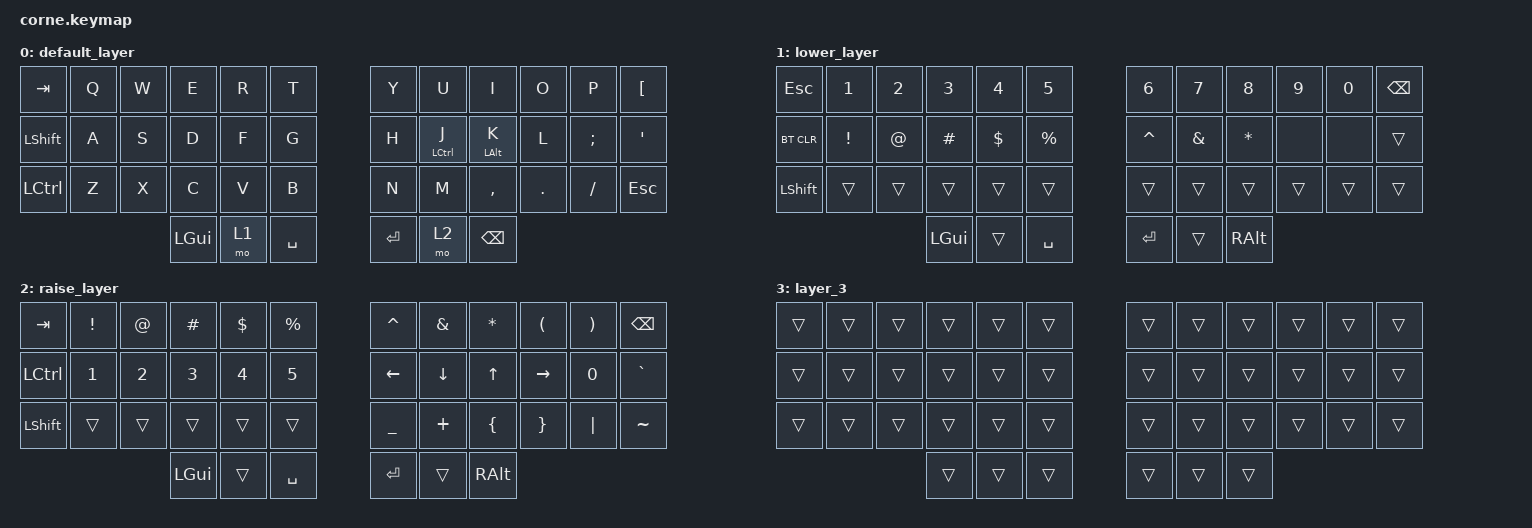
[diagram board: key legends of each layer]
/*
 * Copyright (c) 2020 The ZMK Contributors
 *
 * SPDX-License-Identifier: MIT
 */

#include <behaviors.dtsi>
#include <dt-bindings/zmk/bt.h>
#include <dt-bindings/zmk/keys.h>

/ {
    behaviors {
        hold_and_tap_kp: hold_and_tap_kp {
            compatible = "zmk,behavior-hold-tap";
            label = "HOLD_AND_TAP_KP";
            bindings = <&kp>, <&kp>;

            #binding-cells = <2>;
            tapping-term-ms = <120>;
            flavor = "tap-preferred";
        };
    };

    keymap {
        compatible = "zmk,keymap";

        default_layer {
            // -----------------------------------------------------------------------------------------
            // |  TAB |  Q  |  W  |  E  |  R  |  T  |   |  Y  |  U   |  I  |  O  |  P  | BSPC |
            // | CTRL |  A  |  S  |  D  |  F  |  G  |   |  H  |  J   |  K  |  L  |  ;  |  '   |
            // | SHFT |  Z  |  X  |  C  |  V  |  B  |   |  N  |  M   |  ,  |  .  |  /  | ESC  |
            //                    | GUI | LWR | SPC |   | ENT | RSE  | ALT |

            bindings = <
&kp TAB           &kp Q  &kp W  &kp E     &kp R  &kp T        &kp Y    &kp U                            &kp I                        &kp O    &kp P     &kp LEFT_BRACKET
&kp LEFT_SHIFT    &kp A  &kp S  &kp D     &kp F  &kp G        &kp H    &hold_and_tap_kp LEFT_CONTROL J  &hold_and_tap_kp LEFT_ALT K  &kp L    &kp SEMI  &kp SQT
&kp LEFT_CONTROL  &kp Z  &kp X  &kp C     &kp V  &kp B        &kp N    &kp M                            &kp COMMA                    &kp DOT  &kp FSLH  &kp ESC
                                &kp LGUI  &mo 1  &kp SPACE    &kp RET  &mo 2                            &kp BACKSPACE
            >;
        };

        lower_layer {
            // -----------------------------------------------------------------------------------------
            // |  TAB |  1  |  2  |  3  |  4  |  5  |   |  6  |  7  |  8  |  9  |  0  | BSPC |
            // | BTCLR| BT1 | BT2 | BT3 | BT4 | BT5 |   | LFT | DWN |  UP | RGT |     |      |
            // | SHFT |     |     |     |     |     |   |     |     |     |     |     |      |
            //                    | GUI |     | SPC |   | ENT |     | ALT |

            bindings = <
&kp ESCAPE  &kp N1           &kp N2  &kp N3    &kp N4      &kp N5         &kp N6     &kp N7         &kp N8        &kp N9  &kp N0  &kp BSPC
&bt BT_CLR  &kp EXCLAMATION  &kp AT  &kp HASH  &kp DOLLAR  &kp PERCENT    &kp CARET  &kp AMPERSAND  &kp ASTERISK  &none   &none   &trans
&kp LSHFT   &trans           &trans  &trans    &trans      &trans         &trans     &trans         &trans        &trans  &trans  &trans
                                     &kp LGUI  &trans      &kp SPACE      &kp RET    &trans         &kp RALT
            >;
        };

        raise_layer {
            // -----------------------------------------------------------------------------------------
            // |  TAB |  !  |  @  |  #  |  $  |  %  |   |  ^  |  &  |  *  |  (  |  )  | BSPC |
            // | CTRL |     |     |     |     |     |   |  -  |  =  |  [  |  ]  |  \  |  `   |
            // | SHFT |     |     |     |     |     |   |  _  |  +  |  {  |  }  | "|" |  ~   |
            //                    | GUI |     | SPC |   | ENT |     | ALT |

            bindings = <
&kp TAB    &kp EXCL  &kp AT  &kp HASH  &kp DLLR  &kp PRCNT    &kp CARET       &kp AMPS        &kp ASTRK     &kp LPAR         &kp RPAR  &kp BSPC
&kp LCTRL  &kp N1    &kp N2  &kp N3    &kp N4    &kp N5       &kp LEFT_ARROW  &kp DOWN_ARROW  &kp UP_ARROW  &kp RIGHT_ARROW  &kp N0    &kp GRAVE
&kp LSHFT  &trans    &trans  &trans    &trans    &trans       &kp UNDER       &kp PLUS        &kp LBRC      &kp RBRC         &kp PIPE  &kp TILDE
                             &kp LGUI  &trans    &kp SPACE    &kp RET         &trans          &kp RALT
            >;
        };

        layer_3 {
            bindings = <
&trans  &trans  &trans  &trans  &trans  &trans    &trans  &trans  &trans  &trans  &trans  &trans
&trans  &trans  &trans  &trans  &trans  &trans    &trans  &trans  &trans  &trans  &trans  &trans
&trans  &trans  &trans  &trans  &trans  &trans    &trans  &trans  &trans  &trans  &trans  &trans
                        &trans  &trans  &trans    &trans  &trans  &trans
            >;
        };
    };
};
